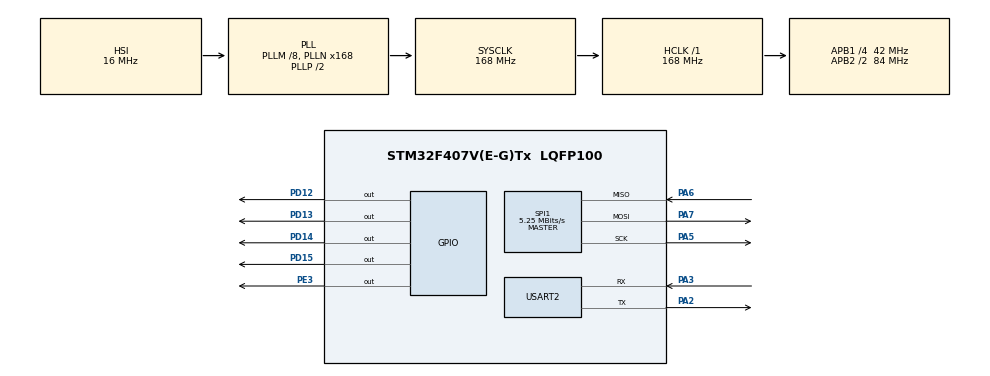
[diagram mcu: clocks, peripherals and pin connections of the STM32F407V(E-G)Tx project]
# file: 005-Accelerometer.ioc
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Mcu.Family=STM32F4
Mcu.Name=STM32F407V(E-G)Tx
Mcu.Package=LQFP100
NVIC.PriorityGroup=NVIC_PRIORITYGROUP_0
PA2.Mode=Asynchronous
PA2.Signal=USART2_TX
PA3.Mode=Asynchronous
PA3.Signal=USART2_RX
PA5.Mode=Full_Duplex_Master
PA5.Signal=SPI1_SCK
PA6.Mode=Full_Duplex_Master
PA6.Signal=SPI1_MISO
PA7.Mode=Full_Duplex_Master
PA7.Signal=SPI1_MOSI
PD12.Signal=GPIO_Output
PD13.Signal=GPIO_Output
PD14.Signal=GPIO_Output
PD15.Signal=GPIO_Output
PE3.Signal=GPIO_Output
ProjectManager.HeapSize=0x200
ProjectManager.StackSize=0x400
ProjectManager.TargetToolchain=STM32CubeIDE
RCC.48MHZClocksFreq_Value=48000000
RCC.AHBFreq_Value=168000000
RCC.APB1CLKDivider=RCC_HCLK_DIV4
RCC.APB1Freq_Value=42000000
RCC.APB1TimFreq_Value=84000000
RCC.APB2CLKDivider=RCC_HCLK_DIV2
RCC.APB2Freq_Value=84000000
RCC.APB2TimFreq_Value=168000000
RCC.CortexFreq_Value=168000000
RCC.HCLKFreq_Value=168000000
RCC.HSE_VALUE=8000000
RCC.HSI_VALUE=16000000
RCC.PLLM=8
RCC.PLLN=168
RCC.PLLQ=7
RCC.SYSCLKFreq_VALUE=168000000
RCC.SYSCLKSource=RCC_SYSCLKSOURCE_PLLCLK
RCC.VCOOutputFreq_Value=336000000
SPI1.BaudRatePrescaler=SPI_BAUDRATEPRESCALER_16
SPI1.CalculateBaudRate=5.25 MBits/s
SPI1.Direction=SPI_DIRECTION_2LINES
SPI1.Mode=SPI_MODE_MASTER
SPI1.VirtualType=VM_MASTER
USART2.VirtualMode=VM_ASYNC
board=STM32F407G-DISC1

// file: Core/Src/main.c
/* USER CODE BEGIN Header */
/**
  ******************************************************************************
  * @file           : main.c
  * @brief          : Main program body
  ******************************************************************************
  * @attention
  *
  * Copyright (c) 2025 STMicroelectronics.
  * All rights reserved.
  *
  * This software is licensed under terms that can be found in the LICENSE file
  * in the root directory of this software component.
  * If no LICENSE file comes with this software, it is provided AS-IS.
  *
  ******************************************************************************
  */
/* USER CODE END Header */
#include "main.h"

/* USER CODE BEGIN Includes */
#include <stdio.h>
#include <stdlib.h>
/* USER CODE END Includes */

SPI_HandleTypeDef hspi1;

UART_HandleTypeDef huart2;

/* USER CODE BEGIN PV */

/* Chip select pin (PE3 for LIS3DSH) */
#define ACCEL_CS_PORT GPIOE
#define ACCEL_CS_PIN  GPIO_PIN_3

/* Threshold (tune this value) */
#define CRASH_THRESHOLD 1000
/* USER CODE END PV */

void SystemClock_Config(void);
static void MX_GPIO_Init(void);
static void MX_SPI1_Init(void);
static void MX_USART2_UART_Init(void);

/* USER CODE BEGIN 0 */
void accel_write(uint8_t reg, uint8_t val) {
    uint8_t data[2] = {reg, val};
    HAL_GPIO_WritePin(ACCEL_CS_PORT, ACCEL_CS_PIN, GPIO_PIN_RESET);
    HAL_SPI_Transmit(&hspi1, data, 2, HAL_MAX_DELAY);
    HAL_GPIO_WritePin(ACCEL_CS_PORT, ACCEL_CS_PIN, GPIO_PIN_SET);
}

void accel_read(uint8_t reg, uint8_t *buf, uint16_t len) {
    reg |= 0x80; // read
    if (len > 1) reg |= 0x40; // auto-increment
    HAL_GPIO_WritePin(ACCEL_CS_PORT, ACCEL_CS_PIN, GPIO_PIN_RESET);
    HAL_SPI_Transmit(&hspi1, &reg, 1, HAL_MAX_DELAY);
    HAL_SPI_Receive(&hspi1, buf, len, HAL_MAX_DELAY);
    HAL_GPIO_WritePin(ACCEL_CS_PORT, ACCEL_CS_PIN, GPIO_PIN_SET);
}

void accel_init(void) {
    accel_write(0x20, 0x67); // CTRL_REG4: 100Hz, all axes enabled
    accel_write(0x24, 0x00); // CTRL_REG5: ±2g
}

// Redirect printf to UART
int __io_putchar(int ch) {
    HAL_UART_Transmit(&huart2, (uint8_t *)&ch, 1, HAL_MAX_DELAY);
    return ch;
}
/* USER CODE END 0 */

int main(void)
{

  /* MCU Configuration--------------------------------------------------------*/

  /* Reset of all peripherals, Initializes the Flash interface and the Systick. */
  HAL_Init();

  /* Configure the system clock */
  SystemClock_Config();

  /* Initialize all configured peripherals */
  MX_GPIO_Init();
  MX_SPI1_Init();
  MX_USART2_UART_Init();

  /* Infinite loop */
  /* USER CODE BEGIN WHILE */

  accel_init();

  uint8_t data[6];
  while (1)
  {

	  accel_read(0x28, data, 6);

	  int16_t x = (int16_t)(data[1] << 8 | data[0]);
	  int16_t y = (int16_t)(data[3] << 8 | data[2]);
	  int16_t z = (int16_t)(data[5] << 8 | data[4]);

	  printf("X=%d, Y=%d, Z=%d\r\n", x, y, z);

	  if (abs(x) > CRASH_THRESHOLD || abs(y) > CRASH_THRESHOLD) {
		  HAL_GPIO_WritePin(GPIOD, GPIO_PIN_12, GPIO_PIN_SET); // turn LED (or buzzer) on
	  } else {
		  HAL_GPIO_WritePin(GPIOD, GPIO_PIN_12, GPIO_PIN_RESET); // turn LED off
	  }

	  HAL_Delay(100);
    /* USER CODE END WHILE */

  }
}

void SystemClock_Config(void)
{
  RCC_OscInitTypeDef RCC_OscInitStruct = {0};
  RCC_ClkInitTypeDef RCC_ClkInitStruct = {0};

  /** Configure the main internal regulator output voltage
  */
  __HAL_RCC_PWR_CLK_ENABLE();
  __HAL_PWR_VOLTAGESCALING_CONFIG(PWR_REGULATOR_VOLTAGE_SCALE1);

  /** Initializes the RCC Oscillators according to the specified parameters
  * in the RCC_OscInitTypeDef structure.
  */
  RCC_OscInitStruct.OscillatorType = RCC_OSCILLATORTYPE_HSI;
  RCC_OscInitStruct.HSIState = RCC_HSI_ON;
  RCC_OscInitStruct.HSICalibrationValue = RCC_HSICALIBRATION_DEFAULT;
  RCC_OscInitStruct.PLL.PLLState = RCC_PLL_ON;
  RCC_OscInitStruct.PLL.PLLSource = RCC_PLLSOURCE_HSI;
  RCC_OscInitStruct.PLL.PLLM = 8;
  RCC_OscInitStruct.PLL.PLLN = 168;
  RCC_OscInitStruct.PLL.PLLP = RCC_PLLP_DIV2;
  RCC_OscInitStruct.PLL.PLLQ = 7;
  if (HAL_RCC_OscConfig(&RCC_OscInitStruct) != HAL_OK)
  {
    Error_Handler();
  }

  /** Initializes the CPU, AHB and APB buses clocks
  */
  RCC_ClkInitStruct.ClockType = RCC_CLOCKTYPE_HCLK|RCC_CLOCKTYPE_SYSCLK
                              |RCC_CLOCKTYPE_PCLK1|RCC_CLOCKTYPE_PCLK2;
  RCC_ClkInitStruct.SYSCLKSource = RCC_SYSCLKSOURCE_PLLCLK;
  RCC_ClkInitStruct.AHBCLKDivider = RCC_SYSCLK_DIV1;
  RCC_ClkInitStruct.APB1CLKDivider = RCC_HCLK_DIV4;
  RCC_ClkInitStruct.APB2CLKDivider = RCC_HCLK_DIV2;

  if (HAL_RCC_ClockConfig(&RCC_ClkInitStruct, FLASH_LATENCY_5) != HAL_OK)
  {
    Error_Handler();
  }
}

static void MX_SPI1_Init(void)
{

  /* SPI1 parameter configuration*/
  hspi1.Instance = SPI1;
  hspi1.Init.Mode = SPI_MODE_MASTER;
  hspi1.Init.Direction = SPI_DIRECTION_2LINES;
  hspi1.Init.DataSize = SPI_DATASIZE_8BIT;
  hspi1.Init.CLKPolarity = SPI_POLARITY_LOW;
  hspi1.Init.CLKPhase = SPI_PHASE_1EDGE;
  hspi1.Init.NSS = SPI_NSS_SOFT;
  hspi1.Init.BaudRatePrescaler = SPI_BAUDRATEPRESCALER_16;
  hspi1.Init.FirstBit = SPI_FIRSTBIT_MSB;
  hspi1.Init.TIMode = SPI_TIMODE_DISABLE;
  hspi1.Init.CRCCalculation = SPI_CRCCALCULATION_DISABLE;
  hspi1.Init.CRCPolynomial = 10;
  if (HAL_SPI_Init(&hspi1) != HAL_OK)
  {
    Error_Handler();
  }

}

static void MX_USART2_UART_Init(void)
{

  huart2.Instance = USART2;
  huart2.Init.BaudRate = 115200;
  huart2.Init.WordLength = UART_WORDLENGTH_8B;
  huart2.Init.StopBits = UART_STOPBITS_1;
  huart2.Init.Parity = UART_PARITY_NONE;
  huart2.Init.Mode = UART_MODE_TX_RX;
  huart2.Init.HwFlowCtl = UART_HWCONTROL_NONE;
  huart2.Init.OverSampling = UART_OVERSAMPLING_16;
  if (HAL_UART_Init(&huart2) != HAL_OK)
  {
    Error_Handler();
  }

}

static void MX_GPIO_Init(void)
{
  GPIO_InitTypeDef GPIO_InitStruct = {0};

  /* GPIO Ports Clock Enable */
  __HAL_RCC_GPIOE_CLK_ENABLE();
  __HAL_RCC_GPIOA_CLK_ENABLE();
  __HAL_RCC_GPIOD_CLK_ENABLE();

  /*Configure GPIO pin Output Level */
  HAL_GPIO_WritePin(GPIOE, GPIO_PIN_3, GPIO_PIN_RESET);

  /*Configure GPIO pin Output Level */
  HAL_GPIO_WritePin(GPIOD, GPIO_PIN_12|GPIO_PIN_13|GPIO_PIN_14|GPIO_PIN_15, GPIO_PIN_RESET);

  /*Configure GPIO pin : PE3 */
  GPIO_InitStruct.Pin = GPIO_PIN_3;
  GPIO_InitStruct.Mode = GPIO_MODE_OUTPUT_PP;
  GPIO_InitStruct.Pull = GPIO_NOPULL;
  GPIO_InitStruct.Speed = GPIO_SPEED_FREQ_LOW;
  HAL_GPIO_Init(GPIOE, &GPIO_InitStruct);

  /*Configure GPIO pins : PD12 PD13 PD14 PD15 */
  GPIO_InitStruct.Pin = GPIO_PIN_12|GPIO_PIN_13|GPIO_PIN_14|GPIO_PIN_15;
  GPIO_InitStruct.Mode = GPIO_MODE_OUTPUT_PP;
  GPIO_InitStruct.Pull = GPIO_NOPULL;
  GPIO_InitStruct.Speed = GPIO_SPEED_FREQ_LOW;
  HAL_GPIO_Init(GPIOD, &GPIO_InitStruct);

}

void Error_Handler(void)
{
  __disable_irq();
  while (1)
  {
  }
}
